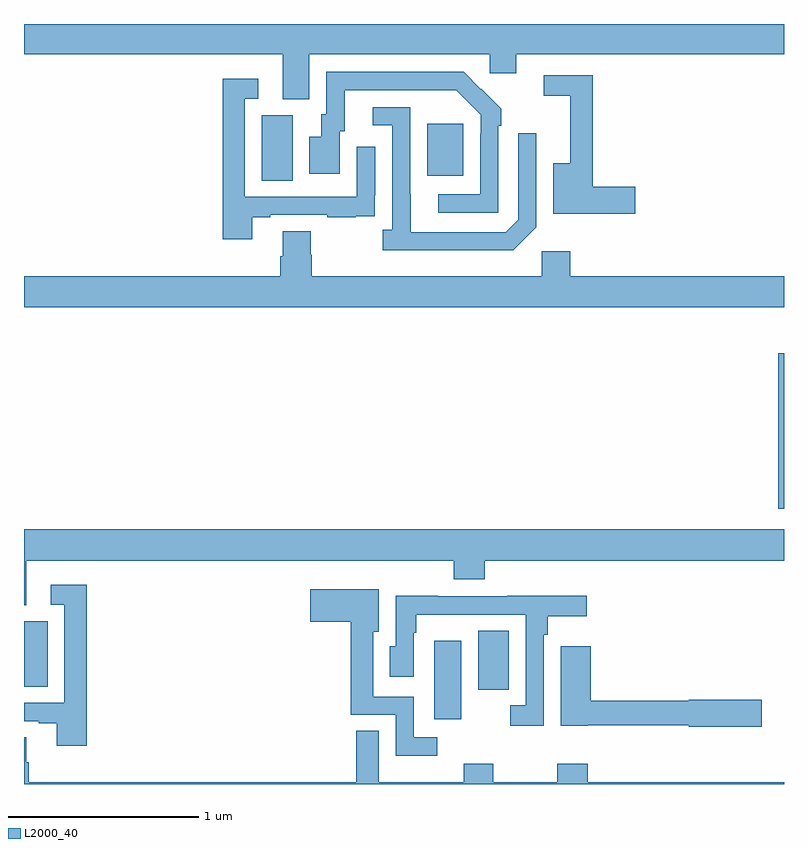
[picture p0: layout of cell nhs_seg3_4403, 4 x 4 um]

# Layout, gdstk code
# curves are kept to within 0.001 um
import gdstk
lib = gdstk.Library(unit=1e-6, precision=1e-09)
def R(c, l, rs):  # rectangles x0, y0, x1, y1
    for r in rs: c.add(gdstk.rectangle(r[:2], r[2:], *l))
def P(c, l, *ps):  # polygons
    for p in ps: c.add(gdstk.Polygon(p, *l))
L2000_40 = (2000, 40)

nhs_seg3_4403 = lib.new_cell('nhs_seg3_4403')
R(nhs_seg3_4403, L2000_40, [(347.159,706.74,347.302,707.155), (347.39,706.896,347.551,707.207), (345,706.912,345.124,707.256), (348.97,707.85,349,708.667), (346.25,709.576,346.414,709.92), (347.123,709.601,347.311,709.876)])
P(nhs_seg3_4403, L2000_40, [(346.501,710.24),(347.451,710.24),(347.451,710.142),(347.59,710.142),(347.59,710.24),(349,710.24),(349,710.4),(345,710.4),(345,710.24),(346.361,710.24),(346.361,710.005),(346.501,710.005)],
  [(347.496,709.865),(347.511,709.865),(347.511,709.953),(347.314,710.148),(346.59,710.148),(346.59,709.926),(346.565,709.926),(346.565,709.807),(346.502,709.807),(346.502,709.611),(346.663,709.611),(346.663,709.836),(346.687,709.836),(346.687,710.052),(347.275,710.052),(347.403,709.923),(347.403,709.823),(347.4,709.823),(347.4,709.503),(347.181,709.503),(347.181,709.407),(347.496,709.407)],
  [(348.217,709.544),(347.993,709.544),(347.993,710.13),(347.736,710.13),(347.736,710.022),(347.876,710.022),(347.876,709.666),(347.786,709.666),(347.786,709.402),(348.217,709.402)],
  [(346.201,709.383),(346.297,709.383),(346.297,709.395),(346.597,709.395),(346.597,709.383),(346.745,709.383),(346.745,709.389),(346.847,709.389),(346.847,709.498),(346.848,709.498),(346.848,709.753),(346.752,709.753),(346.752,709.491),(346.161,709.491),(346.161,710.007),(346.234,710.007),(346.234,710.113),(346.045,710.113),(346.045,709.266),(346.201,709.266)],
  [(347.697,709.329),(347.697,709.825),(347.601,709.825),(347.601,709.371),(347.535,709.305),(347.035,709.305),(347.034,709.962),(346.836,709.962),(346.836,709.866),(346.938,709.866),(346.938,709.318),(346.887,709.318),(346.887,709.208),(347.576,709.208)],
  [(349,709.072),(347.876,709.072),(347.876,709.204),(347.724,709.204),(347.724,709.072),(346.514,709.072),(346.514,709.185),(346.509,709.185),(346.509,709.31),(346.361,709.31),(346.361,709.178),(346.349,709.178),(346.349,709.072),(345,709.072),(345,708.908),(349,708.908)],
  [(345.013,707.576),(347.261,707.576),(347.261,707.477),(347.426,707.477),(347.426,707.576),(349,707.576),(349,707.74),(345,707.74),(345,707.341),(345.013,707.341)],
  [(345.329,707.449),(345.141,707.449),(345.141,707.343),(345.213,707.343),(345.213,706.827),(345,706.827),(345,706.731),(345.077,706.731),(345.077,706.719),(345.173,706.719),(345.173,706.602),(345.329,706.602)],
  [(347.176,706.647),(347.052,706.647),(347.052,706.86),(346.837,706.86),(346.837,707.201),(346.867,707.201),(346.867,707.425),(346.506,707.425),(346.506,707.255),(346.719,707.255),(346.719,706.764),(346.956,706.764),(346.956,706.55),(347.176,706.55)],
  [(347.736,707.186),(347.756,707.186),(347.756,707.282),(347.962,707.282),(347.962,707.39),(347.543,707.39),(347.543,707.388),(347.177,707.388),(347.177,707.39),(346.956,707.39),(346.956,707.124),(346.925,707.124),(346.925,706.965),(347.052,706.965),(347.052,707.195),(347.065,707.195),(347.065,707.291),(347.294,707.291),(347.294,707.292),(347.64,707.292),(347.64,706.815),(347.559,706.815),(347.559,706.707),(347.736,706.707)],
  [(348.883,706.844),(348.498,706.844),(348.498,706.838),(347.984,706.838),(347.984,707.125),(347.825,707.125),(347.825,706.706),(347.967,706.706),(347.967,706.71),(348.498,706.71),(348.498,706.702),(348.883,706.702)],
  [(349,706.408),(347.966,706.408),(347.966,706.507),(347.806,706.507),(347.806,706.408),(347.469,706.408),(347.469,706.507),(347.314,706.507),(347.314,706.408),(346.867,706.408),(346.867,706.679),(346.749,706.679),(346.749,706.408),(345.026,706.408),(345.026,706.514),(345.013,706.514),(345.013,706.646),(345,706.646),(345,706.4),(349,706.4)])

lib.write_gds('nhs_seg3_4403.gds')
